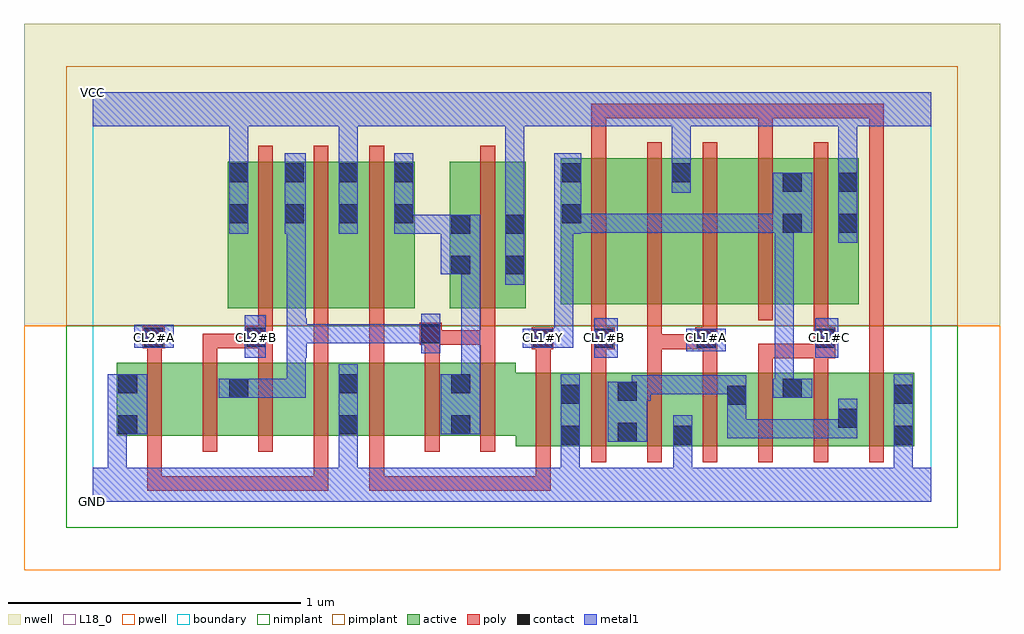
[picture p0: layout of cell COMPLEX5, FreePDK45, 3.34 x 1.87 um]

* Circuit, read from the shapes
.subckt COMPLEX5 CL1#A CL1#B CL1#C CL1#Y CL2#A CL2#B CL2#Y GND VCC
M1 n1 CL2#A GND VSUBS nfet w=0.25u l=0.05u
M2 CL2#Y CL2#B n1 VSUBS nfet w=0.25u l=0.05u
M3 n2 CL2#B CL2#Y VSUBS nfet w=0.25u l=0.05u
M4 GND CL2#A n2 VSUBS nfet w=0.25u l=0.05u
M5 n3 CL1#Y GND VSUBS nfet w=0.25u l=0.05u
M6 n4 CL2#Y n3 VSUBS nfet w=0.25u l=0.05u
M7 n5 CL2#Y n4 VSUBS nfet w=0.25u l=0.05u
M8 GND CL1#Y n5 VSUBS nfet w=0.25u l=0.05u
M9 n6 CL1#B GND VSUBS nfet w=0.25u l=0.05u m=2
M10 GND CL1#A n6 VSUBS nfet w=0.25u l=0.05u m=2
M11 CL1#Y CL1#C n6 VSUBS nfet w=0.25u l=0.05u m=2
M12 CL2#Y CL2#B VCC n7 pfet w=0.5u l=0.05u
M13 VCC CL2#A CL2#Y n7 pfet w=0.5u l=0.05u
M14 n4 CL1#Y VCC n7 pfet w=0.5u l=0.05u
M15 VCC CL2#Y n4 n7 pfet w=0.5u l=0.05u
M16 n8 CL1#B CL1#Y n7 pfet w=0.5u l=0.05u
M17 VCC CL1#A n8 n7 pfet w=0.5u l=0.05u
M18 n9 CL1#A VCC n7 pfet w=0.5u l=0.05u
M19 CL1#Y CL1#B n9 n7 pfet w=0.5u l=0.05u
M20 VCC CL1#C CL1#Y n7 pfet w=0.5u l=0.05u
.ends

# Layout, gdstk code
import gdstk
lib = gdstk.Library(unit=1e-6, precision=1e-09)
def R(c, l, rs):  # rectangles x0, y0, x1, y1
    for r in rs: c.add(gdstk.rectangle(r[:2], r[2:], *l))
def A(c, l, x, y, w, h, nx, ny, dx, dy):  # array of equal rectangles
    R(c, l, [(x+i*dx, y+j*dy, x+i*dx+w, y+j*dy+h) for i in range(nx) for j in range(ny)])
active = (1, 0)
pwell = (2, 0)
nwell = (3, 0)
nimplant = (4, 0)
pimplant = (5, 0)
poly = (9, 0)
contact = (10, 0)
metal1 = (11, 0)
L18_0 = (18, 0)
boundary = (235, 0)

complex5 = lib.new_cell('COMPLEX5')
A(complex5, active, 2.167, 0.19, 0.265, 0.25, 3, 1, 0.19, 0)
R(complex5, active, [(1.447,0.19,1.672,0.44), (1.597,0.19,1.672,0.44), (1.597,0.19,1.867,0.44), (1.792,0.19,2.057,0.44), (1.982,0.19,2.242,0.44), (1.982,0.19,2.057,0.372), (2.737,0.19,2.812,0.44), (1.792,0.2,1.867,0.44), (2.167,0.2,2.242,0.44), (2.547,0.2,2.622,0.44), (0.082,0.225,0.157,0.475), (0.082,0.225,0.307,0.475), (0.307,0.225,0.537,0.475), (0.462,0.225,0.687,0.475), (0.687,0.225,0.912,0.475), (0.837,0.225,1.067,0.475), (0.837,0.225,0.912,0.44), (1.067,0.225,1.297,0.475), (1.222,0.225,1.447,0.475), (1.222,0.225,1.297,0.467), (0.462,0.297,0.537,0.467), (2.357,0.297,2.432,0.425), (0.462,0.662,0.537,1.162), (0.462,0.662,0.727,1.162), (0.652,0.662,0.912,1.162), (0.837,0.662,1.102,1.162), (1.027,0.662,1.102,1.162), (1.222,0.662,1.297,1.162), (1.222,0.662,1.482,1.162), (1.407,0.662,1.482,1.157), (1.602,0.675,1.677,1.175), (1.602,0.675,1.827,1.175), (1.827,0.675,2.052,1.175), (1.977,0.675,2.052,1.175), (1.977,0.675,2.207,1.175), (2.207,0.675,2.432,1.175), (2.357,0.675,2.622,1.175), (2.547,0.675,2.622,1.175), (0.652,0.705,0.727,1.162), (0.837,0.732,0.912,1.162), (2.357,0.762,2.432,1.175)])
R(complex5, pwell, [(-0.235,-0.235,3.105,0.602)])
R(complex5, nwell, [(-0.235,0.602,3.105,1.635)])
R(complex5, nimplant, [(-0.09,-0.09,2.96,0.602)])
R(complex5, pimplant, [(-0.09,0.602,2.96,1.49)])
A(complex5, poly, 1.517, 0.135, 0.05, 0.36, 7, 1, 0.19, 0)
A(complex5, poly, 0.187, 0.17, 0.05, 0.36, 7, 1, 0.19, 0)
A(complex5, poly, 1.517, 0.445, 0.05, 0.127, 4, 1, 0.19, 0)
A(complex5, poly, 0.187, 0.48, 0.05, 0.095, 5, 1, 0.19, 0)
A(complex5, poly, 1.707, 0.547, 0.05, 0.123, 3, 1, 0.38, 0)
A(complex5, poly, 0.567, 0.607, 0.05, 0.61, 3, 1, 0.19, 0)
A(complex5, poly, 1.707, 0.62, 0.05, 0.61, 5, 1, 0.19, 0)
R(complex5, poly, [(0.187,0.037,0.237,0.087), (0.187,0.037,0.237,0.087), (0.187,0.037,0.237,0.087), (0.187,0.037,0.237,0.22), (0.187,0.037,0.44,0.087), (0.39,0.037,0.44,0.087), (0.39,0.037,0.44,0.087), (0.39,0.037,0.44,0.087), (0.39,0.037,0.675,0.087), (0.625,0.037,0.675,0.087), (0.625,0.037,0.675,0.087), (0.625,0.037,0.675,0.087), (0.625,0.037,0.807,0.087), (0.757,0.037,0.807,0.087), (0.757,0.037,0.807,0.22), (0.947,0.037,0.997,0.087), (0.947,0.037,0.997,0.087), (0.947,0.037,0.997,0.087), (0.947,0.037,1.245,0.087), (0.947,0.037,0.997,0.22), (1.195,0.037,1.245,0.087), (1.195,0.037,1.245,0.087), (1.195,0.037,1.245,0.087), (1.195,0.037,1.377,0.087), (1.327,0.037,1.377,0.087), (1.327,0.037,1.567,0.087), (1.517,0.037,1.567,0.087), (1.517,0.037,1.567,0.087), (1.517,0.037,1.567,0.087), (1.517,0.037,1.567,0.185), (2.277,0.445,2.327,0.54), (2.467,0.445,2.517,0.54), (2.657,0.445,2.707,1.362), (1.137,0.48,1.187,0.587), (1.327,0.48,1.377,0.587), (2.277,0.49,2.327,0.54), (2.277,0.49,2.517,0.54), (2.467,0.49,2.517,0.54), (2.467,0.49,2.517,0.54), (2.467,0.49,2.542,0.597), (1.502,0.522,1.577,0.597), (1.707,0.522,1.787,0.597), (1.897,0.522,1.947,0.572), (1.897,0.522,1.947,0.572), (1.897,0.522,1.947,0.572), (1.897,0.522,2.112,0.572), (1.897,0.522,1.947,0.67), (2.062,0.522,2.137,0.597), (0.172,0.525,0.247,0.6), (0.377,0.525,0.427,0.575), (0.377,0.525,0.427,0.575), (0.377,0.525,0.427,0.575), (0.377,0.525,0.572,0.575), (0.522,0.525,0.617,0.6), (0.757,0.525,0.807,0.575), (0.757,0.525,0.807,0.657), (0.947,0.525,0.997,0.575), (0.947,0.525,0.997,0.657), (1.12,0.537,1.195,0.612), (1.145,0.537,1.377,0.587), (1.327,0.537,1.377,0.587), (1.327,0.537,1.377,0.587), (1.327,0.537,1.377,0.587), (1.327,0.537,1.377,0.657), (0.567,0.55,0.617,0.657), (1.327,0.607,1.377,1.217), (1.707,1.18,1.757,1.362), (2.277,1.18,2.327,1.362), (1.707,1.312,1.757,1.362), (1.707,1.312,1.757,1.362), (1.707,1.312,1.757,1.362), (1.707,1.312,1.98,1.362), (1.93,1.312,1.98,1.362), (1.93,1.312,2.112,1.362), (2.062,1.312,2.112,1.362), (2.062,1.312,2.112,1.362), (2.062,1.312,2.112,1.362), (2.062,1.312,2.327,1.362), (2.277,1.312,2.327,1.362), (2.277,1.312,2.327,1.362), (2.277,1.312,2.327,1.362), (2.277,1.312,2.532,1.362), (2.482,1.312,2.532,1.362), (2.482,1.312,2.532,1.362), (2.482,1.312,2.532,1.362), (2.482,1.312,2.707,1.362), (2.657,1.312,2.707,1.362), (2.657,1.312,2.707,1.362), (2.657,1.312,2.707,1.362), (2.657,1.312,2.707,1.362), (2.657,1.312,2.707,1.362), (2.657,1.312,2.707,1.362), (2.657,1.312,2.707,1.362), (2.657,1.312,2.707,1.362), (2.657,1.312,2.707,1.362), (2.657,1.312,2.707,1.362), (2.657,1.312,2.707,1.362), (2.657,1.312,2.707,1.362), (2.657,1.312,2.707,1.362)])
R(complex5, contact, [(1.602,0.195,1.667,0.26), (1.987,0.195,2.052,0.26), (2.742,0.195,2.807,0.26), (1.797,0.205,1.862,0.27), (0.087,0.23,0.152,0.295), (0.842,0.23,0.907,0.295), (1.227,0.23,1.292,0.295), (2.552,0.252,2.617,0.317), (2.172,0.332,2.237,0.397), (1.602,0.335,1.667,0.4), (2.742,0.335,2.807,0.4), (1.797,0.345,1.862,0.41), (0.467,0.355,0.532,0.42), (2.362,0.355,2.427,0.42), (0.087,0.37,0.152,0.435), (0.842,0.37,0.907,0.435), (1.227,0.37,1.292,0.435), (1.507,0.527,1.572,0.592), (1.717,0.527,1.782,0.592), (2.067,0.527,2.132,0.592), (2.472,0.527,2.537,0.592), (0.177,0.53,0.242,0.595), (0.527,0.53,0.592,0.595), (1.125,0.542,1.19,0.607), (1.227,0.777,1.292,0.842), (1.412,0.777,1.477,0.842), (1.227,0.917,1.292,0.982), (1.412,0.917,1.477,0.982), (2.362,0.92,2.427,0.985), (2.552,0.92,2.617,0.985), (0.467,0.952,0.532,1.017), (0.657,0.952,0.722,1.017), (0.842,0.952,0.907,1.017), (1.032,0.952,1.097,1.017), (1.607,0.952,1.672,1.017), (2.362,1.06,2.427,1.125), (2.552,1.06,2.617,1.125), (0.467,1.092,0.532,1.157), (0.657,1.092,0.722,1.157), (0.842,1.092,0.907,1.157), (1.032,1.092,1.097,1.157), (1.607,1.092,1.672,1.157), (1.982,1.092,2.047,1.157)])
R(complex5, metal1, [(0,0,2.87,0.115), (0.052,0.05,0.117,0.295), (0.842,0.05,0.907,0.26), (1.602,0.05,1.667,0.225), (1.987,0.05,2.052,0.225), (1.987,0.05,2.052,0.115), (1.987,0.05,2.052,0.115), (1.987,0.05,2.052,0.115), (1.987,0.05,2.052,0.115), (2.742,0.05,2.807,0.225), (2.742,0.05,2.807,0.115), (2.742,0.05,2.807,0.115), (2.742,0.05,2.807,0.115), (2.742,0.05,2.807,0.115), (1.602,0.16,1.667,0.435), (1.602,0.16,1.667,0.225), (1.602,0.16,1.667,0.225), (1.602,0.16,1.667,0.225), (1.602,0.16,1.667,0.225), (1.987,0.16,2.052,0.295), (2.742,0.16,2.807,0.435), (0.842,0.195,0.907,0.47), (0.842,0.195,0.907,0.26), (0.842,0.195,0.907,0.26), (0.842,0.195,0.907,0.26), (0.842,0.195,0.907,0.26), (1.762,0.205,1.897,0.41), (2.172,0.217,2.237,0.282), (2.172,0.217,2.375,0.282), (2.172,0.217,2.237,0.362), (2.31,0.217,2.375,0.282), (2.31,0.217,2.375,0.282), (2.31,0.217,2.375,0.282), (2.31,0.217,2.617,0.282), (2.552,0.217,2.617,0.282), (2.552,0.217,2.617,0.282), (2.552,0.217,2.617,0.352), (0.052,0.23,0.117,0.295), (0.052,0.23,0.117,0.295), (0.052,0.23,0.117,0.295), (0.052,0.23,0.117,0.295), (0.052,0.23,0.187,0.435), (1.192,0.23,1.327,0.435), (2.172,0.297,2.237,0.432), (1.832,0.345,1.91,0.41), (1.845,0.345,1.91,0.432), (0.432,0.355,0.567,0.42), (0.502,0.355,0.567,0.42), (0.502,0.355,0.567,0.42), (0.502,0.355,0.73,0.42), (0.665,0.355,0.73,0.42), (0.665,0.355,0.73,0.557), (2.327,0.355,2.462,0.42), (2.335,0.355,2.4,0.985), (1.845,0.367,2.047,0.432), (1.982,0.367,2.047,0.432), (1.982,0.367,2.047,0.432), (1.982,0.367,2.047,0.432), (1.982,0.367,2.237,0.432), (1.262,0.37,1.327,0.842), (0.52,0.492,0.592,0.637), (0.665,0.492,0.732,0.627), (1.717,0.492,1.797,0.627), (2.472,0.492,2.552,0.627), (1.125,0.507,1.19,0.642), (2.032,0.515,2.167,0.592), (0.142,0.527,0.277,0.605), (1.472,0.527,1.607,0.592), (1.542,0.527,1.645,0.592), (1.58,0.527,1.645,0.592), (1.58,0.527,1.645,0.982), (0.667,0.542,0.732,0.607), (0.667,0.542,0.732,0.607), (0.667,0.542,0.96,0.607), (0.895,0.542,0.96,0.607), (0.895,0.542,0.96,0.607), (0.895,0.542,0.96,0.607), (0.895,0.542,1.12,0.607), (1.055,0.542,1.12,0.607), (1.055,0.542,1.19,0.607), (0.665,0.562,0.73,0.982), (1.412,0.742,1.477,1.017), (1.192,0.777,1.327,0.982), (1.262,0.777,1.327,0.842), (1.262,0.777,1.327,0.842), (2.552,0.885,2.617,1.16), (0.467,0.917,0.532,1.192), (0.657,0.917,0.73,1.192), (0.842,0.917,0.907,1.192), (1.032,0.917,1.097,1.192), (1.032,0.917,1.097,0.982), (1.032,0.917,1.097,0.982), (1.032,0.917,1.257,0.982), (1.58,0.917,1.672,1.192), (1.607,0.92,1.745,0.985), (1.68,0.92,1.745,0.985), (1.68,0.92,1.882,0.985), (1.817,0.92,1.882,0.985), (1.817,0.92,1.882,0.985), (1.817,0.92,1.882,0.985), (1.817,0.92,2.047,0.985), (1.982,0.92,2.047,0.985), (1.982,0.92,2.185,0.985), (2.12,0.92,2.185,0.985), (2.12,0.92,2.185,0.985), (2.12,0.92,2.185,0.985), (2.12,0.92,2.392,0.985), (2.327,0.92,2.392,0.985), (2.327,0.92,2.392,0.985), (2.327,0.92,2.462,1.125), (2.335,0.92,2.4,0.985), (2.335,0.92,2.4,0.985), (1.412,0.952,1.477,1.35), (1.982,1.057,2.047,1.192), (2.552,1.095,2.617,1.16), (2.552,1.095,2.617,1.16), (2.552,1.095,2.617,1.35), (0.467,1.127,0.532,1.192), (0.467,1.127,0.532,1.192), (0.467,1.127,0.532,1.35), (0.842,1.127,0.907,1.35), (1.982,1.127,2.047,1.192), (1.982,1.127,2.047,1.192), (1.982,1.127,2.047,1.35), (0,1.285,2.87,1.4), (0.842,1.285,0.907,1.35), (0.842,1.285,0.907,1.35), (1.412,1.285,1.477,1.35), (1.412,1.285,1.477,1.35)])
R(complex5, L18_0, [(0,0,2.87,0.115), (0.052,0.05,0.117,0.295), (0.842,0.05,0.907,0.26), (1.602,0.05,1.667,0.225), (1.987,0.05,2.052,0.115), (1.987,0.05,2.052,0.115), (1.987,0.05,2.052,0.115), (1.987,0.05,2.052,0.115), (1.987,0.05,2.052,0.225), (2.742,0.05,2.807,0.115), (2.742,0.05,2.807,0.115), (2.742,0.05,2.807,0.115), (2.742,0.05,2.807,0.115), (2.742,0.05,2.807,0.225), (1.602,0.16,1.667,0.225), (1.602,0.16,1.667,0.225), (1.602,0.16,1.667,0.225), (1.602,0.16,1.667,0.225), (1.602,0.16,1.667,0.435), (1.987,0.16,2.052,0.295), (2.742,0.16,2.807,0.435), (0.842,0.195,0.907,0.26), (0.842,0.195,0.907,0.26), (0.842,0.195,0.907,0.26), (0.842,0.195,0.907,0.26), (0.842,0.195,0.907,0.47), (0.052,0.23,0.117,0.295), (0.052,0.23,0.117,0.295), (0.052,0.23,0.117,0.295), (0.052,0.23,0.117,0.295), (0.052,0.23,0.187,0.435), (0.432,0.355,0.567,0.42), (0.502,0.355,0.567,0.42), (0.502,0.355,0.567,0.42), (0.502,0.355,0.73,0.42), (0.665,0.355,0.73,0.42), (0.665,0.355,0.73,0.557), (2.327,0.355,2.462,0.42), (2.335,0.355,2.4,0.985), (0.52,0.492,0.592,0.637), (0.665,0.492,0.732,0.627), (1.717,0.492,1.797,0.627), (2.472,0.492,2.552,0.627), (1.125,0.507,1.19,0.642), (2.032,0.515,2.167,0.592), (0.142,0.527,0.277,0.605), (0.177,0.527,0.242,0.592), (0.527,0.527,0.592,0.592), (0.667,0.527,0.732,0.592), (1.472,0.527,1.607,0.592), (1.507,0.527,1.572,0.592), (1.542,0.527,1.645,0.592), (1.58,0.527,1.645,0.592), (1.58,0.527,1.645,0.982), (1.717,0.527,1.782,0.592), (2.067,0.527,2.132,0.592), (2.487,0.527,2.552,0.592), (0.667,0.542,0.732,0.607), (0.667,0.542,0.732,0.607), (0.667,0.542,0.96,0.607), (0.895,0.542,0.96,0.607), (0.895,0.542,0.96,0.607), (0.895,0.542,0.96,0.607), (0.895,0.542,1.12,0.607), (1.055,0.542,1.12,0.607), (1.055,0.542,1.19,0.607), (0.665,0.562,0.73,0.982), (1.412,0.742,1.477,1.017), (2.552,0.885,2.617,1.16), (0.467,0.917,0.532,1.192), (0.657,0.917,0.73,1.192), (0.842,0.917,0.907,1.192), (1.58,0.917,1.672,1.192), (1.607,0.92,1.745,0.985), (1.68,0.92,1.745,0.985), (1.68,0.92,1.882,0.985), (1.817,0.92,1.882,0.985), (1.817,0.92,1.882,0.985), (1.817,0.92,1.882,0.985), (1.817,0.92,2.047,0.985), (1.982,0.92,2.047,0.985), (1.982,0.92,2.185,0.985), (2.12,0.92,2.185,0.985), (2.12,0.92,2.185,0.985), (2.12,0.92,2.185,0.985), (2.12,0.92,2.392,0.985), (2.327,0.92,2.392,0.985), (2.327,0.92,2.392,0.985), (2.327,0.92,2.462,1.125), (2.335,0.92,2.4,0.985), (2.335,0.92,2.4,0.985), (1.412,0.952,1.477,1.35), (1.982,1.057,2.047,1.192), (2.552,1.095,2.617,1.16), (2.552,1.095,2.617,1.16), (2.552,1.095,2.617,1.35), (0.467,1.127,0.532,1.192), (0.467,1.127,0.532,1.192), (0.467,1.127,0.532,1.35), (0.842,1.127,0.907,1.35), (1.982,1.127,2.047,1.192), (1.982,1.127,2.047,1.192), (1.982,1.127,2.047,1.35), (0,1.285,2.87,1.4), (0.842,1.285,0.907,1.35), (0.842,1.285,0.907,1.35), (1.412,1.285,1.477,1.35), (1.412,1.285,1.477,1.35)])
R(complex5, boundary, [(0,0,2.87,1.4)])
complex5.add(gdstk.Label('CL1#A', (2.1,0.56), layer=11, texttype=0))
complex5.add(gdstk.Label('CL1#B', (1.75,0.56), layer=11, texttype=0))
complex5.add(gdstk.Label('CL1#C', (2.52,0.56), layer=11, texttype=0))
complex5.add(gdstk.Label('CL1#Y', (1.54,0.56), layer=11, texttype=0))
complex5.add(gdstk.Label('CL2#A', (0.21,0.56), layer=11, texttype=0))
complex5.add(gdstk.Label('CL2#B', (0.56,0.56), layer=11, texttype=0))
complex5.add(gdstk.Label('CL2#Y', (0.7,0.56), layer=11, texttype=0))
complex5.add(gdstk.Label('VCC', (0,1.4), layer=11, texttype=0))
complex5.add(gdstk.Label('GND', (0,0), layer=11, texttype=0))

lib.write_gds('COMPLEX5.gds')
